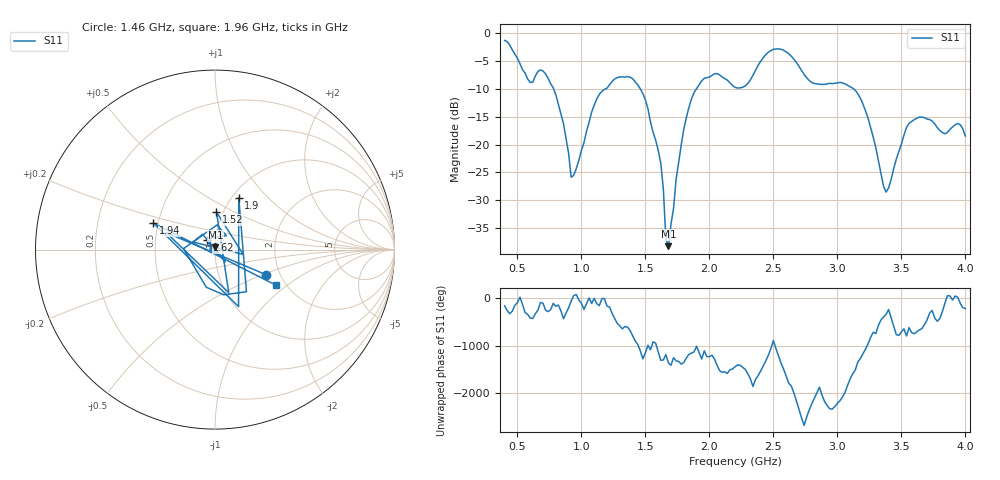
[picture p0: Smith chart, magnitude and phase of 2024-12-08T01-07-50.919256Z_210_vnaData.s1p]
!Created with skrf (http://scikit-rf.org).
# Hz S RI R 50.0
!freq ReS11 ImS11
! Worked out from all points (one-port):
!   181 points, 400 MHz to 4 GHz, reference 50 ohm
!   lowest |S11| = -38.2 dB at 1.68 GHz (marker M1), VSWR 1.02, Z = 50.3 + j1.2 ohm
!   |S11| at or under -10 dB: 783 MHz to 1.189 GHz (405.7 MHz wide, 41.2 % of centre); 1.46 GHz to 1.898 GHz (438 MHz wide, 26.1 % of centre); 3.127 GHz to end of sweep
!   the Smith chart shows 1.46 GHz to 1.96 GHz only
!   S11 on the Smith chart (normalised r, x): 1.46 GHz: 1.69, -0.53; 1.52 GHz: 0.93, +0.41; 1.62 GHz: 0.91, +0.10; 1.9 GHz: 1.07, +0.69; 1.94 GHz: 0.47, +0.16; 1.96 GHz: 1.78, -0.83
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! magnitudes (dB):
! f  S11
! 400 MHz  -1.3
! 600 MHz  -8.9
! 720 MHz  -7.3
! 860 MHz  -16.2
! 920 MHz  -25.9
! 940 MHz  -25.5
! 1.12 GHz  -11.8
! 1.3 GHz  -7.8
! 1.46 GHz  -10.0
! 1.52 GHz  -13.6
! 1.62 GHz  -23.3
! 1.64 GHz  -27.9
! 1.66 GHz  -37.0
! 1.68 GHz  -38.2
! 1.76 GHz  -23.2
! 1.82 GHz  -15.1
! 1.9 GHz  -9.9
! 1.94 GHz  -8.6
! 1.96 GHz  -8.1
! 2.2 GHz  -9.7
! 2.48 GHz  -3.1
! 2.66 GHz  -4.7
! 2.8 GHz  -8.8
! 3.1 GHz  -9.6
! 3.24 GHz  -15.3
! 3.38 GHz  -28.5
! 3.56 GHz  -16.2
! 4 GHz  -18.5
